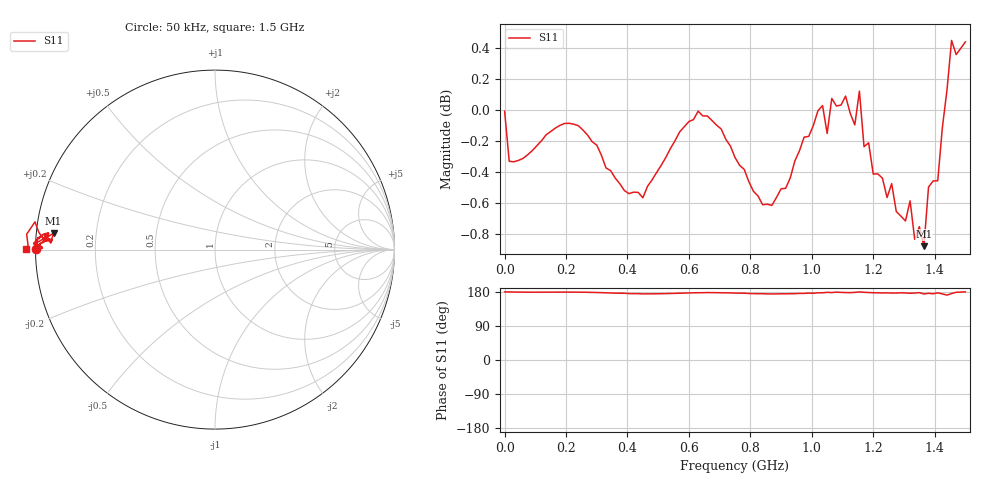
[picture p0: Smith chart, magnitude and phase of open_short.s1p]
! Created with skrf 1.8.0 (http://scikit-rf.org).
# Hz S RI R 50.0
!freq ReS11 ImS11
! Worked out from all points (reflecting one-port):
!   101 points, 50 kHz to 1.5 GHz, reference 50 ohm
!   lowest |S11| = -0.9 dB at 1.365 GHz (marker M1), VSWR 19.80, Z = 2.53 + j2.52 ohm
!   phase of S11 starts at 180 deg and turns +0 deg over the sweep
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50000  -0.999 0.00411
1.50495e7  -0.9626 0.00685
1.950435e8  -0.9899 0.0141
3.750375e8  -0.9445 0.0646
4.50035e8  -0.9326 0.0899
5.70031e8  -0.9818 0.0644
6.60028e8  -0.9949 0.0356
7.50025e8  -0.9638 0.0547
8.70021e8  -0.9271 0.092
9.450185e8  -0.9593 0.0833
1.080014e9  -1.003 0.0156
1.125012e9  -0.9967 0.039
1.140012e9  -0.9886 0.0261
1.155012e9  -1.014 0.00727
1.170011e9  -0.9728 0.0222
1.20001e9  -0.9526 0.0418
1.305006e9  -0.9196 0.0491
1.320006e9  -0.9325 0.0645
1.335006e9  -0.9069 0.0529
1.350005e9  -0.9163 0.0365
1.365004e9  -0.8993 0.0911
1.380004e9  -0.9421 0.065
1.395004e9  -0.9446 0.0873
1.410003e9  -0.9476 0.0473
1.440002e9  -1.003 0.1544
1.455002e9  -1.049 0.0856
1.470001e9  -1.042 0.0231
1.5e9  -1.052 0.00411
